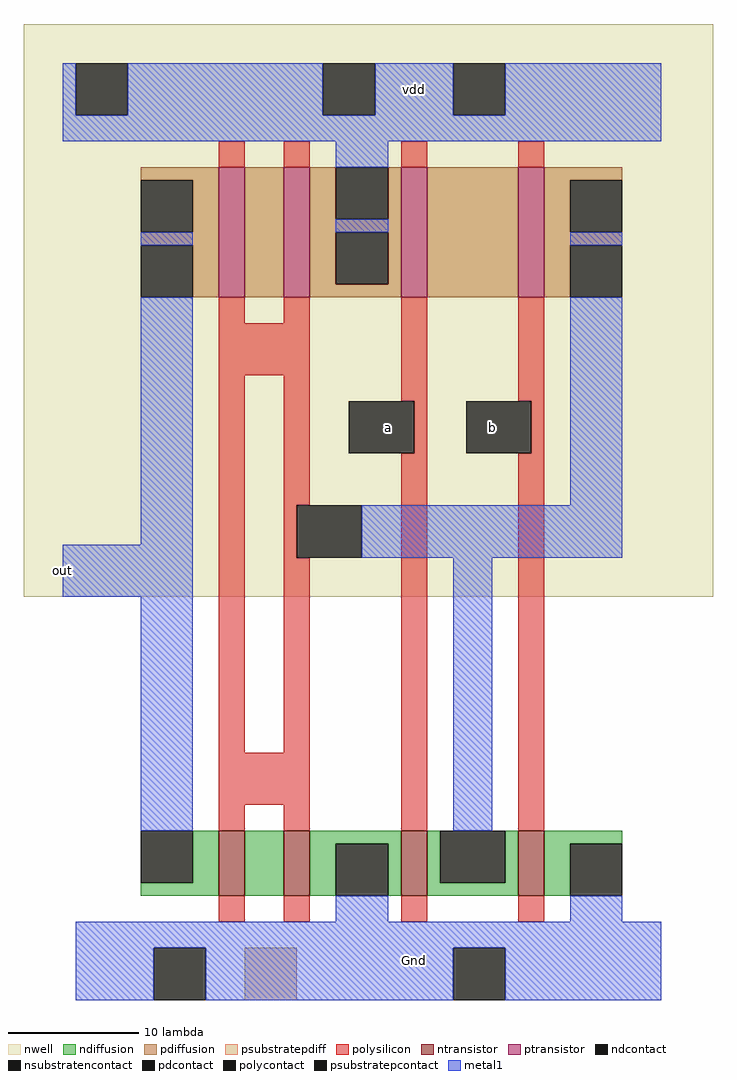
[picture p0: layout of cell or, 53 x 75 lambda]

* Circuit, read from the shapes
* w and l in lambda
.subckt or Gnd a b out vdd
M1 n1 n2 out Gnd nfet w=5 l=2
M2 Gnd n2 n1 Gnd nfet w=5 l=2
M3 n2 a Gnd Gnd nfet w=5 l=2
M4 Gnd b n2 Gnd nfet w=5 l=2
M5 n3 n2 out vdd pfet w=10 l=2
M6 vdd n2 n3 vdd pfet w=10 l=2
M7 n4 a vdd vdd pfet w=10 l=2
M8 n2 b n4 vdd pfet w=10 l=2
.ends

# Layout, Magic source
magic
tech min2
<< nwell >>
rect -28 24 25 68
<< ntransistor >>
rect -13 1 -11 6
rect -8 1 -6 6
rect 1 1 3 6
rect 10 1 12 6
<< ptransistor >>
rect -13 47 -11 57
rect -8 47 -6 57
rect 1 47 3 57
rect 10 47 12 57
<< ndiffusion >>
rect -15 2 -13 6
rect -19 1 -13 2
rect -11 1 -8 6
rect -6 5 1 6
rect -6 1 -4 5
rect 0 1 1 5
rect 3 2 4 6
rect 9 2 10 6
rect 3 1 10 2
rect 12 5 18 6
rect 12 1 14 5
<< pdiffusion >>
rect -19 56 -13 57
rect -15 52 -13 56
rect -19 51 -13 52
rect -15 47 -13 51
rect -11 47 -8 57
rect -6 53 -4 57
rect 0 53 1 57
rect -6 52 1 53
rect -6 48 -4 52
rect 0 48 1 52
rect -6 47 1 48
rect 3 47 10 57
rect 12 56 18 57
rect 12 52 14 56
rect 12 51 18 52
rect 12 47 14 51
<< ndcontact >>
rect -19 2 -15 6
rect -4 1 0 5
rect 4 2 9 6
rect 14 1 18 5
<< pdcontact >>
rect -19 52 -15 56
rect -19 47 -15 51
rect -4 53 0 57
rect -4 48 0 52
rect 14 52 18 56
rect 14 47 18 51
<< psubstratepdiff >>
rect -11 -7 -7 -3
<< psubstratepcontact >>
rect -18 -7 -14 -3
rect 5 -7 9 -3
<< nsubstratencontact >>
rect -24 61 -20 65
rect -5 61 -1 65
rect 5 61 9 65
<< polysilicon >>
rect -13 57 -11 59
rect -8 57 -6 59
rect 1 57 3 59
rect 10 57 12 59
rect -13 45 -11 47
rect -8 45 -6 47
rect -13 41 -6 45
rect -13 12 -11 41
rect -8 31 -6 41
rect 1 39 3 47
rect 10 39 12 47
rect 2 35 3 39
rect 11 35 12 39
rect -8 27 -7 31
rect -8 12 -6 27
rect -13 8 -6 12
rect -13 6 -11 8
rect -8 6 -6 8
rect 1 6 3 35
rect 10 6 12 35
rect -13 -1 -11 1
rect -8 -1 -6 1
rect 1 -1 3 1
rect 10 -1 12 1
<< polycontact >>
rect -3 35 2 39
rect 6 35 11 39
rect -7 27 -2 31
<< metal1 >>
rect -25 61 -24 65
rect -20 61 -5 65
rect -1 61 5 65
rect 9 61 21 65
rect -25 59 21 61
rect -4 57 0 59
rect -19 51 -15 52
rect -4 52 0 53
rect 14 51 18 52
rect -19 28 -15 47
rect 14 31 18 47
rect -25 24 -15 28
rect -2 27 18 31
rect -19 6 -15 24
rect 5 6 8 27
rect -4 -1 0 1
rect 14 -1 18 1
rect -24 -3 21 -1
rect -24 -7 -18 -3
rect -14 -7 5 -3
rect 9 -7 21 -3
<< labels >>
rlabel metal1 2 -4 2 -4 1 Gnd
rlabel metal1 2 63 2 63 5 vdd
rlabel polycontact 8 37 8 37 1 b
rlabel metal1 -25 24 -25 28 3 out
rlabel polycontact 0 37 0 37 1 a
<< end >>
